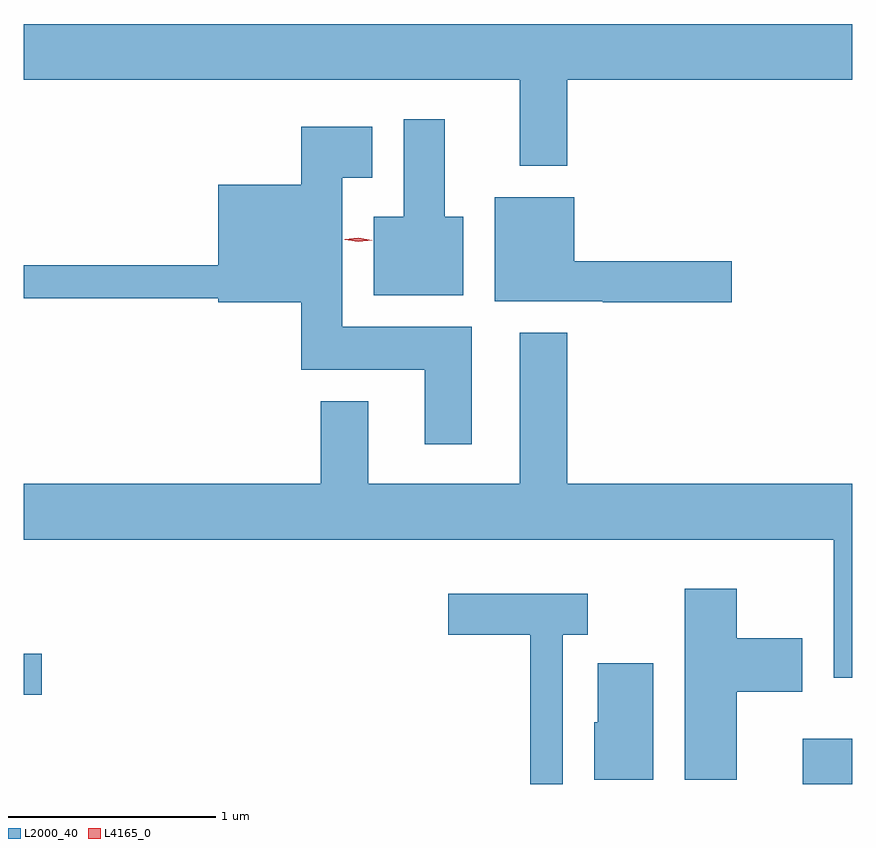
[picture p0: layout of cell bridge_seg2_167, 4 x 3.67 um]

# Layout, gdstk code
import gdstk
lib = gdstk.Library(unit=1e-6, precision=1e-09)
def R(c, l, rs):  # rectangles x0, y0, x1, y1
    for r in rs: c.add(gdstk.rectangle(r[:2], r[2:], *l))
def P(c, l, *ps):  # polygons
    for p in ps: c.add(gdstk.Polygon(p, *l))
L2000_40 = (2000, 40)
L4165_0 = (4165, 0)

bridge_seg2_167 = lib.new_cell('bridge_seg2_167')
R(bridge_seg2_167, L2000_40, [(831.916,998.296,832.156,998.514), (828.156,998.726,828.244,998.924)])
P(bridge_seg2_167, L2000_40, [(830.779,1001.696),(832.156,1001.696),(832.156,1001.964),(828.156,1001.964),(828.156,1001.696),(830.551,1001.696),(830.551,1001.281),(830.779,1001.281)],
  [(830.279,1001.034),(830.189,1001.034),(830.189,1001.504),(829.991,1001.504),(829.991,1001.034),(829.846,1001.034),(829.846,1000.656),(830.279,1000.656)],
  [(830.319,1000.504),(829.694,1000.504),(829.694,1001.221),(829.839,1001.221),(829.839,1001.469),(829.496,1001.469),(829.496,1001.189),(829.096,1001.189),(829.096,1000.799),(828.156,1000.799),(828.156,1000.641),(829.096,1000.641),(829.096,1000.621),(829.496,1000.621),(829.496,1000.296),(830.091,1000.296),(830.091,999.936),(830.319,999.936)],
  [(831.574,1000.819),(830.814,1000.819),(830.814,1001.129),(830.431,1001.129),(830.431,1000.626),(830.95,1000.626),(830.95,1000.621),(831.574,1000.621)],
  [(832.156,999.744),(830.779,999.744),(830.779,1000.474),(830.551,1000.474),(830.551,999.744),(829.819,999.744),(829.819,1000.144),(829.591,1000.144),(829.591,999.744),(828.156,999.744),(828.156,999.476),(832.066,999.476),(832.066,998.808),(832.156,998.808)],
  [(831.599,998.741),(831.914,998.741),(831.914,998.999),(831.599,998.999),(831.599,999.239),(831.346,999.239),(831.346,998.316),(831.599,998.316)],
  [(830.759,999.016),(830.879,999.016),(830.879,999.214),(830.206,999.214),(830.206,999.016),(830.601,999.016),(830.601,998.296),(830.759,998.296)],
  [(831.194,998.879),(830.926,998.879),(830.926,998.595),(830.911,998.595),(830.911,998.316),(831.194,998.316)])
P(bridge_seg2_167, L4165_0, [(829.772,1000.912),(829.706,1000.923),(829.706,1000.923),(829.706,1000.924),(829.772,1000.932),(829.838,1000.921),(829.838,1000.921),(829.838,1000.92)])

lib.write_gds('bridge_seg2_167.gds')
